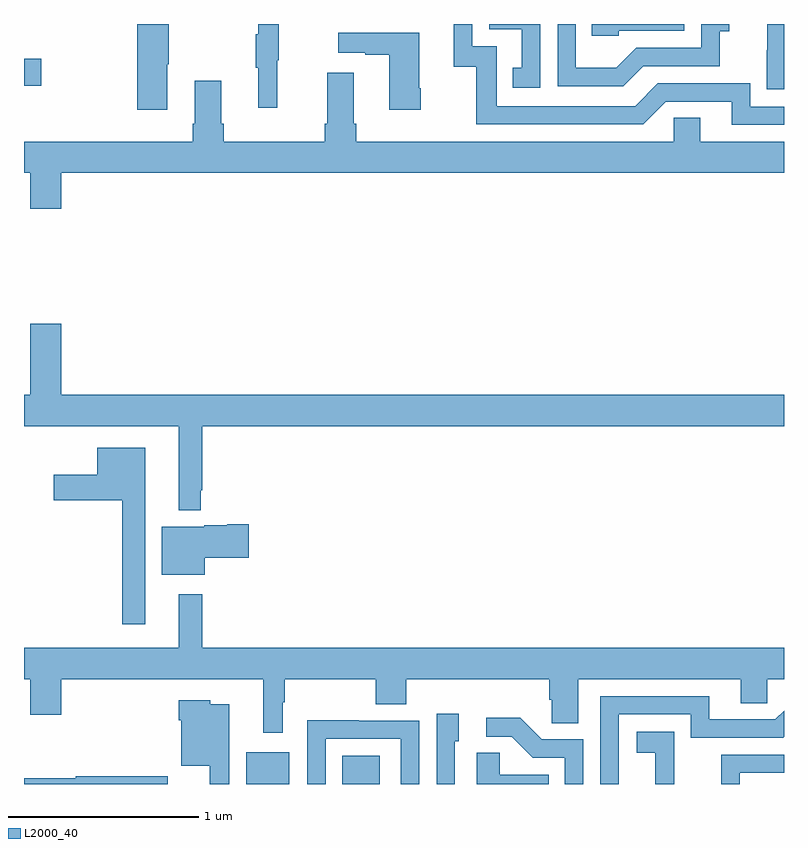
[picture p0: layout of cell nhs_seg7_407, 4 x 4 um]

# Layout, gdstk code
import gdstk
lib = gdstk.Library(unit=1e-6, precision=1e-09)
def R(c, l, rs):  # rectangles x0, y0, x1, y1
    for r in rs: c.add(gdstk.rectangle(r[:2], r[2:], *l))
def P(c, l, *ps):  # polygons
    for p in ps: c.add(gdstk.Polygon(p, *l))
L2000_40 = (2000, 40)

nhs_seg7_407 = lib.new_cell('nhs_seg7_407')
R(nhs_seg7_407, L2000_40, [(142.169,1064,142.396,1064.167), (142.676,1064,142.873,1064.149), (141,1067.674,141.091,1067.816)])
P(nhs_seg7_407, L2000_40, [(144.259,1067.778),(144.663,1067.778),(144.663,1067.963),(144.712,1067.963),(144.712,1068),(144.564,1068),(144.564,1067.874),(144.222,1067.874),(144.118,1067.77),(143.904,1067.77),(143.904,1068),(143.808,1068),(143.808,1067.673),(144.154,1067.673)],
  [(145,1068),(144.911,1068),(144.911,1067.863),(144.91,1067.863),(144.91,1067.657),(145,1067.657)],
  [(144.129,1067.964),(144.474,1067.964),(144.474,1068),(143.989,1068),(143.989,1067.937),(144.129,1067.937)],
  [(142.334,1067.808),(142.342,1067.808),(142.342,1068),(142.232,1068),(142.232,1067.945),(142.221,1067.945),(142.221,1067.771),(142.232,1067.771),(142.232,1067.559),(142.334,1067.559)],
  [(143.718,1068),(143.448,1068),(143.448,1067.973),(143.621,1067.973),(143.621,1067.769),(143.572,1067.769),(143.572,1067.664),(143.718,1067.664)],
  [(141.754,1067.788),(141.762,1067.788),(141.762,1068),(141.596,1068),(141.596,1067.55),(141.754,1067.55)],
  [(145,1067.565),(144.822,1067.565),(144.822,1067.688),(144.336,1067.688),(144.216,1067.568),(143.487,1067.568),(143.487,1067.883),(143.358,1067.883),(143.358,1068),(143.261,1068),(143.261,1067.775),(143.379,1067.775),(143.379,1067.472),(144.258,1067.472),(144.378,1067.592),(144.725,1067.592),(144.725,1067.469),(145,1067.469)],
  [(143.088,1067.662),(143.08,1067.662),(143.08,1067.953),(142.653,1067.953),(142.653,1067.849),(142.796,1067.849),(142.796,1067.839),(142.922,1067.839),(142.922,1067.55),(143.088,1067.55)],
  [(145,1067.38),(144.559,1067.38),(144.559,1067.507),(144.42,1067.507),(144.42,1067.38),(142.748,1067.38),(142.748,1067.476),(142.735,1067.476),(142.735,1067.743),(142.595,1067.743),(142.595,1067.476),(142.583,1067.476),(142.583,1067.38),(142.052,1067.38),(142.052,1067.476),(142.039,1067.476),(142.039,1067.701),(141.899,1067.701),(141.899,1067.476),(141.887,1067.476),(141.887,1067.38),(141,1067.38),(141,1067.216),(141.032,1067.216),(141.032,1067.028),(141.196,1067.028),(141.196,1067.216),(145,1067.216)],
  [(141.929,1065.547),(141.937,1065.547),(141.937,1065.884),(145,1065.884),(145,1066.048),(141.196,1066.048),(141.196,1066.423),(141.032,1066.423),(141.032,1066.048),(141,1066.048),(141,1065.884),(141.815,1065.884),(141.815,1065.44),(141.929,1065.44)],
  [(141.637,1065.769),(141.386,1065.769),(141.386,1065.628),(141.156,1065.628),(141.156,1065.494),(141.516,1065.494),(141.516,1064.841),(141.637,1064.841)],
  [(141.952,1065.19),(142.183,1065.19),(142.183,1065.368),(142.07,1065.368),(142.07,1065.361),(141.948,1065.361),(141.948,1065.355),(141.725,1065.355),(141.725,1065.101),(141.952,1065.101)],
  [(142.363,1064.431),(142.373,1064.431),(142.373,1064.552),(142.852,1064.552),(142.852,1064.419),(143.012,1064.419),(143.012,1064.552),(143.765,1064.552),(143.765,1064.443),(143.778,1064.443),(143.778,1064.32),(143.917,1064.32),(143.917,1064.552),(144.773,1064.552),(144.773,1064.425),(144.912,1064.425),(144.912,1064.552),(145,1064.552),(145,1064.716),(141.937,1064.716),(141.937,1064.998),(141.815,1064.998),(141.815,1064.716),(141,1064.716),(141,1064.552),(141.032,1064.552),(141.032,1064.364),(141.196,1064.364),(141.196,1064.552),(142.259,1064.552),(142.259,1064.271),(142.363,1064.271)],
  [(144.129,1064.367),(144.51,1064.367),(144.51,1064.244),(144.996,1064.244),(145,1064.248),(145,1064.386),(144.954,1064.34),(144.607,1064.34),(144.607,1064.463),(144.033,1064.463),(144.033,1064),(144.129,1064)],
  [(142.081,1064.419),(141.981,1064.419),(141.981,1064.44),(141.815,1064.44),(141.815,1064.336),(141.827,1064.336),(141.827,1064.096),(141.977,1064.096),(141.977,1064),(142.081,1064)],
  [(143.268,1064.226),(143.287,1064.226),(143.287,1064.371),(143.172,1064.371),(143.172,1064),(143.268,1064)],
  [(143.943,1064.235),(143.724,1064.235),(143.611,1064.348),(143.433,1064.348),(143.433,1064.25),(143.567,1064.25),(143.678,1064.139),(143.847,1064.139),(143.847,1064),(143.943,1064)],
  [(142.587,1064.238),(142.983,1064.238),(142.983,1064),(143.079,1064),(143.079,1064.334),(142.763,1064.334),(142.763,1064.336),(142.491,1064.336),(142.491,1064),(142.587,1064)],
  [(144.422,1064.069),(144.423,1064.069),(144.423,1064.275),(144.225,1064.275),(144.225,1064.165),(144.323,1064.165),(144.323,1064),(144.422,1064)],
  [(143.762,1064.05),(143.505,1064.05),(143.505,1064.165),(143.384,1064.165),(143.384,1064),(143.762,1064)],
  [(144.768,1064.058),(145,1064.058),(145,1064.154),(144.67,1064.154),(144.67,1064),(144.768,1064)],
  [(141.757,1064.042),(141.272,1064.042),(141.272,1064.029),(141,1064.029),(141,1064),(141.757,1064)])

lib.write_gds('nhs_seg7_407.gds')
